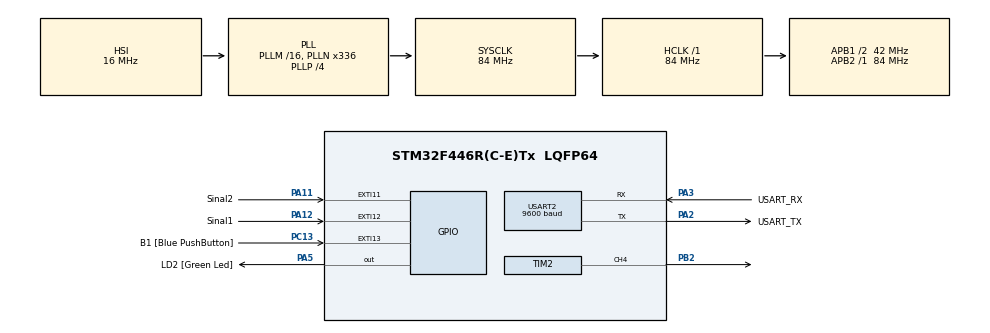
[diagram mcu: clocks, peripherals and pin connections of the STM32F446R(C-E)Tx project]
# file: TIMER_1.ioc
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Mcu.Family=STM32F4
Mcu.Name=STM32F446R(C-E)Tx
Mcu.Package=LQFP64
NVIC.PriorityGroup=NVIC_PRIORITYGROUP_0
PA11.GPIO_Label=Sinal2
PA11.GPIO_ModeDefaultEXTI=GPIO_MODE_IT_FALLING
PA11.GPIO_PuPd=GPIO_PULLUP
PA11.Signal=GPXTI11
PA12.GPIO_Label=Sinal1
PA12.GPIO_ModeDefaultEXTI=GPIO_MODE_IT_FALLING
PA12.GPIO_PuPd=GPIO_PULLUP
PA12.Signal=GPXTI12
PA13.GPIO_Label=TMS
PA13.Mode=Serial_Wire
PA13.Signal=SYS_JTMS-SWDIO
PA14.GPIO_Label=TCK
PA14.Mode=Serial_Wire
PA14.Signal=SYS_JTCK-SWCLK
PA2.GPIO_Label=USART_TX
PA2.Mode=Asynchronous
PA2.Signal=USART2_TX
PA3.GPIO_Label=USART_RX
PA3.Mode=Asynchronous
PA3.Signal=USART2_RX
PA5.GPIO_Label=LD2 [Green Led]
PA5.Signal=GPIO_Output
PB2.Signal=S_TIM2_CH4
PB3.GPIO_Label=SWO
PB3.Signal=SYS_JTDO-SWO
PC13.GPIO_Label=B1 [Blue PushButton]
PC13.GPIO_ModeDefaultEXTI=GPIO_MODE_IT_FALLING
PC13.Signal=GPXTI13
PC14-OSC32_IN.Mode=LSE-External-Oscillator
PC14-OSC32_IN.Signal=RCC_OSC32_IN
PC15-OSC32_OUT.Mode=LSE-External-Oscillator
PC15-OSC32_OUT.Signal=RCC_OSC32_OUT
PH0-OSC_IN.Mode=HSE-External-Oscillator
PH0-OSC_IN.Signal=RCC_OSC_IN
PH1-OSC_OUT.Mode=HSE-External-Oscillator
PH1-OSC_OUT.Signal=RCC_OSC_OUT
ProjectManager.HeapSize=0x200
ProjectManager.StackSize=0x400
ProjectManager.TargetToolchain=STM32CubeIDE
RCC.48MHZClocksFreq_Value=84000000
RCC.AHBFreq_Value=84000000
RCC.APB1CLKDivider=RCC_HCLK_DIV2
RCC.APB1Freq_Value=42000000
RCC.APB1TimFreq_Value=84000000
RCC.APB2Freq_Value=84000000
RCC.APB2TimFreq_Value=84000000
RCC.CortexFreq_Value=84000000
RCC.FLatency-AdvancedSettings=FLASH_LATENCY_2
RCC.HCLKFreq_Value=84000000
RCC.HSE_VALUE=8000000
RCC.HSI_VALUE=16000000
RCC.PLLN=336
RCC.PLLP=RCC_PLLP_DIV4
RCC.SYSCLKFreq_VALUE=84000000
RCC.SYSCLKSource=RCC_SYSCLKSOURCE_PLLCLK
RCC.USBFreq_Value=168000000
RCC.VCOOutputFreq_Value=336000000
SH.S_TIM2_CH4.0=TIM2_CH4,PWM Generation4 CH4
TIM2.Channel-PWM\ Generation4\ CH4=TIM_CHANNEL_4
TIM2.Period=2000-1
TIM2.Prescaler=840
TIM3.AutoReloadPreload=TIM_AUTORELOAD_PRELOAD_ENABLE
TIM3.Period=65535-1
TIM3.Prescaler=84-1
USART2.BaudRate=9600
USART2.VirtualMode=VM_ASYNC
VP_TIM2_VS_ClockSourceINT.Mode=Internal
VP_TIM3_VS_ClockSourceINT.Mode=Internal
board=NUCLEO-F446RE

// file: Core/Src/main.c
/* USER CODE BEGIN Header */
/**
  ******************************************************************************
  * @file           : main.c
  * @brief          : Main program body
  ******************************************************************************
  * @attention
  *
  * <h2><center>&copy; Copyright (c) 2021 STMicroelectronics.
  * All rights reserved.</center></h2>
  *
  * This software component is licensed by ST under BSD 3-Clause license,
  * the "License"; You may not use this file except in compliance with the
  * License. You may obtain a copy of the License at:
  *                        opensource.org/licenses/BSD-3-Clause
  *
  ******************************************************************************
  */
/* USER CODE END Header */
#include "main.h"

/* USER CODE BEGIN Includes */
#include <stdio.h>
#include "fonts.h"
#include "functions.h"
#include "tft.h"
#include "user_setting.h"
/* USER CODE END Includes */

TIM_HandleTypeDef htim2;
TIM_HandleTypeDef htim3;

UART_HandleTypeDef huart2;

/* USER CODE BEGIN PV */
uint8_t Encoder = 0 + 60;
uint16_t ID;
char cGraus[5];
/* USER CODE END PV */

void SystemClock_Config(void);
static void MX_GPIO_Init(void);
static void MX_USART2_UART_Init(void);
static void MX_TIM2_Init(void);
static void MX_TIM3_Init(void);
/* USER CODE BEGIN PFP */

void Write(uint8_t *encoder);
void Erase(void);

/* USER CODE END PFP */

int main(void)
{

  /* MCU Configuration--------------------------------------------------------*/

  /* Reset of all peripherals, Initializes the Flash interface and the Systick. */
  HAL_Init();

  /* Configure the system clock */
  SystemClock_Config();

  /* Initialize all configured peripherals */
  MX_GPIO_Init();
  MX_USART2_UART_Init();
  MX_TIM2_Init();
  MX_TIM3_Init();
  /* USER CODE BEGIN 2 */
  HAL_TIM_PWM_Start(&htim2, TIM_CHANNEL_4);
  htim2.Instance->CCR4 = Encoder;

  tft_gpio_init(); //Inicializa os GPIOs do LCD (evita uso do CubeMX)
  HAL_TIM_Base_Start(&htim3); //Inicializa o Timer1 (base de tempo de us do LCD)
  HAL_Delay(100);
  tft_init(tft_readID()); //Inicializa o LCD de acordo com seu ID
  setRotation(1); //Ajusta a orientação da tela
  HAL_Delay(1000);
  fillScreen(BLACK); //Preenche a tela em uma só cor

  printnewtstr(
  			  100,
  			  WHITE,
  			  &mono18x7bold,
  			  1,
  			  (uint8_t *)"Graus = ");

  /* USER CODE END 2 */

  /* Infinite loop */
  /* USER CODE BEGIN WHILE */
  while (1)
  {
	  sprintf(cGraus, "%d", Encoder);
	  printnewtstr(200, YELLOW, &mono18x7bold, 1,(uint8_t *) cGraus);
	  htim2.Instance->CCR4 = Encoder;

if (Encoder <= 240 && Encoder >= 60)
{
	  if((!HAL_GPIO_ReadPin(Sinal1_GPIO_Port, Sinal1_Pin))	&&	(HAL_GPIO_ReadPin(Sinal2_GPIO_Port, Sinal2_Pin)))
	  {
		  HAL_Delay(100);
		  printnewtstr_bc(200, BLACK, BLACK, &mono18x7bold, 1,(uint8_t *) cGraus);
		  Encoder +=10;

	  }
	  else if((HAL_GPIO_ReadPin(Sinal1_GPIO_Port, Sinal1_Pin)) && (!HAL_GPIO_ReadPin(Sinal2_GPIO_Port, Sinal2_Pin)))
	  {
		  HAL_Delay(100);
		  printnewtstr_bc(200, BLACK, BLACK, &mono18x7bold, 1, (uint8_t *)cGraus);
		  Encoder -= 10;
	  }
}
else {
		printnewtstr_bc(200, BLACK, BLACK, &mono18x7bold, 1, (uint8_t *)cGraus);
		Encoder = 60;
	 }
  /* USER CODE END 3 */
  }

}

void SystemClock_Config(void)
{
  RCC_OscInitTypeDef RCC_OscInitStruct = {0};
  RCC_ClkInitTypeDef RCC_ClkInitStruct = {0};

  /** Configure the main internal regulator output voltage
  */
  __HAL_RCC_PWR_CLK_ENABLE();
  __HAL_PWR_VOLTAGESCALING_CONFIG(PWR_REGULATOR_VOLTAGE_SCALE3);
  /** Initializes the RCC Oscillators according to the specified parameters
  * in the RCC_OscInitTypeDef structure.
  */
  RCC_OscInitStruct.OscillatorType = RCC_OSCILLATORTYPE_HSI;
  RCC_OscInitStruct.HSIState = RCC_HSI_ON;
  RCC_OscInitStruct.HSICalibrationValue = RCC_HSICALIBRATION_DEFAULT;
  RCC_OscInitStruct.PLL.PLLState = RCC_PLL_ON;
  RCC_OscInitStruct.PLL.PLLSource = RCC_PLLSOURCE_HSI;
  RCC_OscInitStruct.PLL.PLLM = 16;
  RCC_OscInitStruct.PLL.PLLN = 336;
  RCC_OscInitStruct.PLL.PLLP = RCC_PLLP_DIV4;
  RCC_OscInitStruct.PLL.PLLQ = 2;
  RCC_OscInitStruct.PLL.PLLR = 2;
  if (HAL_RCC_OscConfig(&RCC_OscInitStruct) != HAL_OK)
  {
    Error_Handler();
  }
  /** Initializes the CPU, AHB and APB buses clocks
  */
  RCC_ClkInitStruct.ClockType = RCC_CLOCKTYPE_HCLK|RCC_CLOCKTYPE_SYSCLK
                              |RCC_CLOCKTYPE_PCLK1|RCC_CLOCKTYPE_PCLK2;
  RCC_ClkInitStruct.SYSCLKSource = RCC_SYSCLKSOURCE_PLLCLK;
  RCC_ClkInitStruct.AHBCLKDivider = RCC_SYSCLK_DIV1;
  RCC_ClkInitStruct.APB1CLKDivider = RCC_HCLK_DIV2;
  RCC_ClkInitStruct.APB2CLKDivider = RCC_HCLK_DIV1;

  if (HAL_RCC_ClockConfig(&RCC_ClkInitStruct, FLASH_LATENCY_2) != HAL_OK)
  {
    Error_Handler();
  }
}

static void MX_TIM2_Init(void)
{

  TIM_ClockConfigTypeDef sClockSourceConfig = {0};
  TIM_MasterConfigTypeDef sMasterConfig = {0};
  TIM_OC_InitTypeDef sConfigOC = {0};

  htim2.Instance = TIM2;
  htim2.Init.Prescaler = 840;
  htim2.Init.CounterMode = TIM_COUNTERMODE_UP;
  htim2.Init.Period = 2000-1;
  htim2.Init.ClockDivision = TIM_CLOCKDIVISION_DIV1;
  htim2.Init.AutoReloadPreload = TIM_AUTORELOAD_PRELOAD_DISABLE;
  if (HAL_TIM_Base_Init(&htim2) != HAL_OK)
  {
    Error_Handler();
  }
  sClockSourceConfig.ClockSource = TIM_CLOCKSOURCE_INTERNAL;
  if (HAL_TIM_ConfigClockSource(&htim2, &sClockSourceConfig) != HAL_OK)
  {
    Error_Handler();
  }
  if (HAL_TIM_PWM_Init(&htim2) != HAL_OK)
  {
    Error_Handler();
  }
  sMasterConfig.MasterOutputTrigger = TIM_TRGO_RESET;
  sMasterConfig.MasterSlaveMode = TIM_MASTERSLAVEMODE_DISABLE;
  if (HAL_TIMEx_MasterConfigSynchronization(&htim2, &sMasterConfig) != HAL_OK)
  {
    Error_Handler();
  }
  sConfigOC.OCMode = TIM_OCMODE_PWM1;
  sConfigOC.Pulse = 0;
  sConfigOC.OCPolarity = TIM_OCPOLARITY_HIGH;
  sConfigOC.OCFastMode = TIM_OCFAST_DISABLE;
  if (HAL_TIM_PWM_ConfigChannel(&htim2, &sConfigOC, TIM_CHANNEL_4) != HAL_OK)
  {
    Error_Handler();
  }
  HAL_TIM_MspPostInit(&htim2);

}

static void MX_TIM3_Init(void)
{

  TIM_ClockConfigTypeDef sClockSourceConfig = {0};
  TIM_MasterConfigTypeDef sMasterConfig = {0};

  htim3.Instance = TIM3;
  htim3.Init.Prescaler = 84-1;
  htim3.Init.CounterMode = TIM_COUNTERMODE_UP;
  htim3.Init.Period = 65535-1;
  htim3.Init.ClockDivision = TIM_CLOCKDIVISION_DIV1;
  htim3.Init.AutoReloadPreload = TIM_AUTORELOAD_PRELOAD_ENABLE;
  if (HAL_TIM_Base_Init(&htim3) != HAL_OK)
  {
    Error_Handler();
  }
  sClockSourceConfig.ClockSource = TIM_CLOCKSOURCE_INTERNAL;
  if (HAL_TIM_ConfigClockSource(&htim3, &sClockSourceConfig) != HAL_OK)
  {
    Error_Handler();
  }
  sMasterConfig.MasterOutputTrigger = TIM_TRGO_RESET;
  sMasterConfig.MasterSlaveMode = TIM_MASTERSLAVEMODE_DISABLE;
  if (HAL_TIMEx_MasterConfigSynchronization(&htim3, &sMasterConfig) != HAL_OK)
  {
    Error_Handler();
  }

}

static void MX_USART2_UART_Init(void)
{

  huart2.Instance = USART2;
  huart2.Init.BaudRate = 9600;
  huart2.Init.WordLength = UART_WORDLENGTH_8B;
  huart2.Init.StopBits = UART_STOPBITS_1;
  huart2.Init.Parity = UART_PARITY_NONE;
  huart2.Init.Mode = UART_MODE_TX_RX;
  huart2.Init.HwFlowCtl = UART_HWCONTROL_NONE;
  huart2.Init.OverSampling = UART_OVERSAMPLING_16;
  if (HAL_UART_Init(&huart2) != HAL_OK)
  {
    Error_Handler();
  }

}

static void MX_GPIO_Init(void)
{
  GPIO_InitTypeDef GPIO_InitStruct = {0};

  /* GPIO Ports Clock Enable */
  __HAL_RCC_GPIOC_CLK_ENABLE();
  __HAL_RCC_GPIOH_CLK_ENABLE();
  __HAL_RCC_GPIOA_CLK_ENABLE();
  __HAL_RCC_GPIOB_CLK_ENABLE();

  /*Configure GPIO pin Output Level */
  HAL_GPIO_WritePin(LD2_GPIO_Port, LD2_Pin, GPIO_PIN_RESET);

  /*Configure GPIO pin : B1_Pin */
  GPIO_InitStruct.Pin = B1_Pin;
  GPIO_InitStruct.Mode = GPIO_MODE_IT_FALLING;
  GPIO_InitStruct.Pull = GPIO_NOPULL;
  HAL_GPIO_Init(B1_GPIO_Port, &GPIO_InitStruct);

  /*Configure GPIO pin : LD2_Pin */
  GPIO_InitStruct.Pin = LD2_Pin;
  GPIO_InitStruct.Mode = GPIO_MODE_OUTPUT_PP;
  GPIO_InitStruct.Pull = GPIO_NOPULL;
  GPIO_InitStruct.Speed = GPIO_SPEED_FREQ_LOW;
  HAL_GPIO_Init(LD2_GPIO_Port, &GPIO_InitStruct);

  /*Configure GPIO pins : Sinal2_Pin Sinal1_Pin */
  GPIO_InitStruct.Pin = Sinal2_Pin|Sinal1_Pin;
  GPIO_InitStruct.Mode = GPIO_MODE_IT_FALLING;
  GPIO_InitStruct.Pull = GPIO_PULLUP;
  HAL_GPIO_Init(GPIOA, &GPIO_InitStruct);

}

void Error_Handler(void)
{
  __disable_irq();
  while (1)
  {
  }
}

/************************ (C) COPYRIGHT STMicroelectronics *****END OF FILE****/
